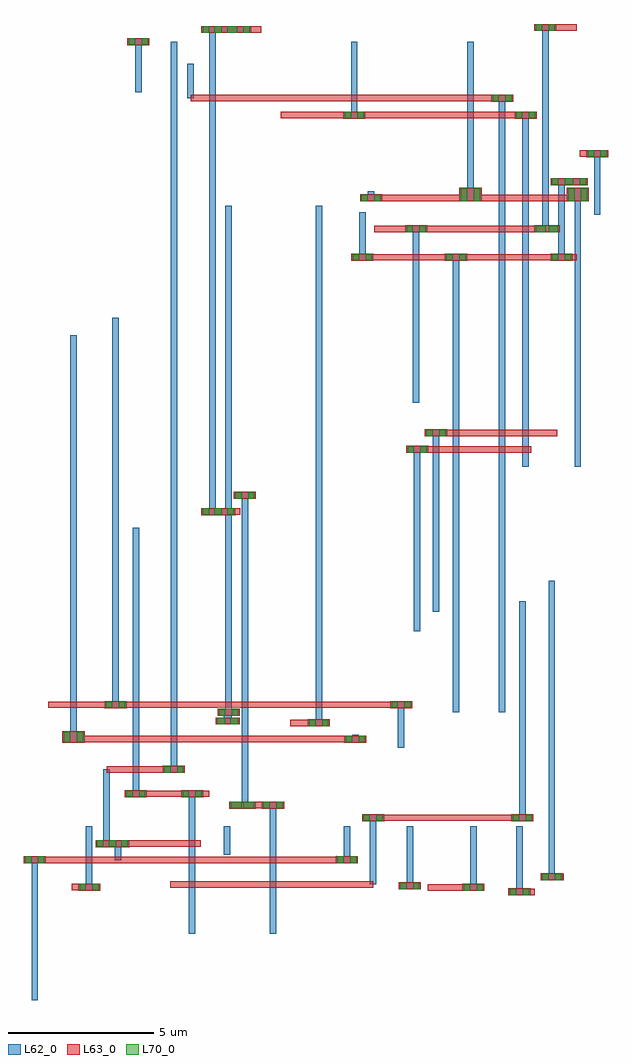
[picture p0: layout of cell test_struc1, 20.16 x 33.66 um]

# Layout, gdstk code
import gdstk
lib = gdstk.Library(unit=1e-6, precision=1e-09)
def R(c, l, rs):  # rectangles x0, y0, x1, y1
    for r in rs: c.add(gdstk.rectangle(r[:2], r[2:], *l))
L62_0 = (62, 0)
L63_0 = (63, 0)
L70_0 = (70, 0)

test_struc1 = lib.new_cell('test_struc1')
R(test_struc1, L62_0, [(17.975,4.925,18.735,5.165), (16.385,5.08,17.145,5.32), (3.135,5.09,3.895,5.33), (14.195,5.13,14.955,5.37), (19.085,5.44,19.845,5.68), (1.26,6.025,2.02,6.265), (12.025,6.025,12.785,6.265), (1.26,6.035,2.02,6.275), (12.025,6.035,12.785,6.275), (3.735,6.585,4.495,6.825), (4.135,6.585,4.895,6.825), (12.925,7.48,13.685,7.72), (18.075,7.48,18.835,7.72), (8.345,7.915,9.105,8.155), (8.505,7.915,9.265,8.155), (9.475,7.915,10.235,8.155), (4.745,8.305,5.505,8.545), (6.685,8.305,7.445,8.545), (6.055,9.145,6.815,9.385), (2.595,10.19,3.355,10.43), (12.315,10.19,13.075,10.43), (2.595,10.34,3.355,10.58), (11.055,10.75,11.815,10.99), (7.885,10.815,8.645,11.055), (7.945,10.815,8.705,11.055), (7.945,11.11,8.705,11.35), (4.045,11.375,4.805,11.615), (13.895,11.375,14.655,11.615), (7.385,18.035,8.145,18.275), (7.785,18.035,8.545,18.275), (8.505,18.595,9.265,18.835), (14.445,20.182,15.205,20.422), (15.095,20.752,15.855,20.992), (12.555,26.805,13.315,27.045), (15.785,26.805,16.545,27.045), (19.425,26.805,20.185,27.045), (14.41,27.785,15.17,28.025), (18.865,27.785,19.625,28.025), (18.985,27.785,19.745,28.025), (12.855,28.855,13.615,29.095), (16.285,28.855,17.045,29.095), (19.985,28.855,20.745,29.095), (16.285,29.075,17.045,29.315), (19.985,29.075,20.745,29.315), (19.425,29.415,20.185,29.655), (19.945,29.415,20.705,29.655), (20.655,30.38,21.415,30.62), (12.275,31.71,13.035,31.95), (18.185,31.71,18.945,31.95), (17.375,32.295,18.135,32.535), (4.835,34.245,5.595,34.485), (7.385,34.66,8.145,34.9), (7.785,34.66,8.545,34.9), (8.345,34.66,9.105,34.9), (18.865,34.73,19.625,34.97)])
R(test_struc1, L63_0, [(17.975,4.925,18.735,5.165), (16.385,5.08,17.145,5.32), (3.135,5.09,3.895,5.33), (14.195,5.13,14.955,5.37), (19.085,5.44,19.845,5.68), (1.26,6.025,2.02,6.265), (12.025,6.025,12.785,6.265), (1.26,6.035,2.02,6.275), (12.025,6.035,12.785,6.275), (3.735,6.585,4.495,6.825), (4.135,6.585,4.895,6.825), (12.925,7.48,13.685,7.72), (18.075,7.48,18.835,7.72), (8.345,7.915,9.105,8.155), (8.505,7.915,9.265,8.155), (9.475,7.915,10.235,8.155), (4.745,8.305,5.505,8.545), (6.685,8.305,7.445,8.545), (6.055,9.145,6.815,9.385), (2.595,10.19,3.355,10.43), (12.315,10.19,13.075,10.43), (2.595,10.34,3.355,10.58), (11.055,10.75,11.815,10.99), (7.885,10.815,8.645,11.055), (7.945,10.815,8.705,11.055), (7.945,11.11,8.705,11.35), (4.045,11.375,4.805,11.615), (13.895,11.375,14.655,11.615), (7.385,18.035,8.145,18.275), (7.785,18.035,8.545,18.275), (8.505,18.595,9.265,18.835), (14.445,20.182,15.205,20.422), (15.095,20.752,15.855,20.992), (12.555,26.805,13.315,27.045), (15.785,26.805,16.545,27.045), (19.425,26.805,20.185,27.045), (14.41,27.785,15.17,28.025), (18.865,27.785,19.625,28.025), (18.985,27.785,19.745,28.025), (12.855,28.855,13.615,29.095), (16.285,28.855,17.045,29.095), (19.985,28.855,20.745,29.095), (16.285,29.075,17.045,29.315), (19.985,29.075,20.745,29.315), (19.425,29.415,20.185,29.655), (19.945,29.415,20.705,29.655), (20.655,30.38,21.415,30.62), (12.275,31.71,13.035,31.95), (18.185,31.71,18.945,31.95), (17.375,32.295,18.135,32.535), (4.835,34.245,5.595,34.485), (7.385,34.66,8.145,34.9), (7.785,34.66,8.545,34.9), (8.345,34.66,9.105,34.9), (18.865,34.73,19.625,34.97)])
R(test_struc1, L70_0, [(18.025,4.935,18.245,5.155), (18.465,4.935,18.685,5.155), (16.435,5.09,16.655,5.31), (16.875,5.09,17.095,5.31), (3.185,5.1,3.405,5.32), (3.625,5.1,3.845,5.32), (14.245,5.14,14.465,5.36), (14.685,5.14,14.905,5.36), (19.135,5.45,19.355,5.67), (19.575,5.45,19.795,5.67), (1.31,6.035,1.53,6.255), (1.75,6.035,1.97,6.255), (12.075,6.035,12.295,6.255), (12.515,6.035,12.735,6.255), (1.31,6.045,1.53,6.265), (1.75,6.045,1.97,6.265), (12.075,6.045,12.295,6.265), (12.515,6.045,12.735,6.265), (3.785,6.595,4.005,6.815), (4.185,6.595,4.405,6.815), (4.225,6.595,4.445,6.815), (4.625,6.595,4.845,6.815), (12.975,7.49,13.195,7.71), (13.415,7.49,13.635,7.71), (18.125,7.49,18.345,7.71), (18.565,7.49,18.785,7.71), (8.395,7.925,8.615,8.145), (8.555,7.925,8.775,8.145), (8.835,7.925,9.055,8.145), (8.995,7.925,9.215,8.145), (9.525,7.925,9.745,8.145), (9.965,7.925,10.185,8.145), (4.795,8.315,5.015,8.535), (5.235,8.315,5.455,8.535), (6.735,8.315,6.955,8.535), (7.175,8.315,7.395,8.535), (6.105,9.155,6.325,9.375), (6.545,9.155,6.765,9.375), (2.645,10.2,2.865,10.42), (3.085,10.2,3.305,10.42), (12.365,10.2,12.585,10.42), (12.805,10.2,13.025,10.42), (2.645,10.35,2.865,10.57), (3.085,10.35,3.305,10.57), (11.105,10.76,11.325,10.98), (11.545,10.76,11.765,10.98), (7.935,10.825,8.155,11.045), (7.995,10.825,8.215,11.045), (8.375,10.825,8.595,11.045), (8.435,10.825,8.655,11.045), (7.995,11.12,8.215,11.34), (8.435,11.12,8.655,11.34), (4.095,11.385,4.315,11.605), (4.535,11.385,4.755,11.605), (13.945,11.385,14.165,11.605), (14.385,11.385,14.605,11.605), (7.435,18.045,7.655,18.265), (7.835,18.045,8.055,18.265), (7.875,18.045,8.095,18.265), (8.275,18.045,8.495,18.265), (8.555,18.605,8.775,18.825), (8.995,18.605,9.215,18.825), (14.495,20.192,14.715,20.412), (14.935,20.192,15.155,20.412), (15.145,20.762,15.365,20.982), (15.585,20.762,15.805,20.982), (12.605,26.815,12.825,27.035), (13.045,26.815,13.265,27.035), (15.835,26.815,16.055,27.035), (16.275,26.815,16.495,27.035), (19.475,26.815,19.695,27.035), (19.915,26.815,20.135,27.035), (14.46,27.795,14.68,28.015), (14.9,27.795,15.12,28.015), (18.915,27.795,19.135,28.015), (19.035,27.795,19.255,28.015), (19.355,27.795,19.575,28.015), (19.475,27.795,19.695,28.015), (12.905,28.865,13.125,29.085), (13.345,28.865,13.565,29.085), (16.335,28.865,16.555,29.085), (16.775,28.865,16.995,29.085), (20.035,28.865,20.255,29.085), (20.475,28.865,20.695,29.085), (16.335,29.085,16.555,29.305), (16.775,29.085,16.995,29.305), (20.035,29.085,20.255,29.305), (20.475,29.085,20.695,29.305), (19.475,29.425,19.695,29.645), (19.915,29.425,20.135,29.645), (19.995,29.425,20.215,29.645), (20.435,29.425,20.655,29.645), (20.705,30.39,20.925,30.61), (21.145,30.39,21.365,30.61), (12.325,31.72,12.545,31.94), (12.765,31.72,12.985,31.94), (18.235,31.72,18.455,31.94), (18.675,31.72,18.895,31.94), (17.425,32.305,17.645,32.525), (17.865,32.305,18.085,32.525), (4.885,34.255,5.105,34.475), (5.325,34.255,5.545,34.475), (7.435,34.67,7.655,34.89), (7.835,34.67,8.055,34.89), (7.875,34.67,8.095,34.89), (8.275,34.67,8.495,34.89), (8.395,34.67,8.615,34.89), (8.835,34.67,9.055,34.89), (18.915,34.74,19.135,34.96), (19.355,34.74,19.575,34.96)])
test_struc1.add(gdstk.FlexPath([(19.365,27.905),(14.79,27.905)], 0.22, ends="flush", simple_path=True, layer=63, datatype=0))  # L63_0
test_struc1.add(gdstk.FlexPath([(14.79,21.91),(14.79,22.47)], 0.22, ends="flush", simple_path=True, layer=62, datatype=0))  # L62_0
test_struc1.add(gdstk.FlexPath([(14.79,23.68),(14.79,27.905)], 0.22, ends="flush", simple_path=True, layer=62, datatype=0))  # L62_0
test_struc1.add(gdstk.FlexPath([(19.365,34.85),(19.245,34.85)], 0.22, ends="flush", simple_path=True, layer=63, datatype=0))  # L63_0
test_struc1.add(gdstk.FlexPath([(19.245,27.905),(19.365,27.905)], 0.22, ends="flush", simple_path=True, layer=63, datatype=0))  # L63_0
test_struc1.add(gdstk.FlexPath([(20.325,34.85),(19.365,34.85)], 0.22, ends="flush", simple_path=True, layer=63, datatype=0))  # L63_0
test_struc1.add(gdstk.FlexPath([(19.245,34.85),(19.245,27.905)], 0.22, ends="flush", simple_path=True, layer=62, datatype=0))  # L62_0
test_struc1.add(gdstk.FlexPath([(14.79,22.47),(14.79,23.68)], 0.22, ends="flush", simple_path=True, layer=62, datatype=0))  # L62_0
test_struc1.add(gdstk.FlexPath([(13.345,27.905),(14.79,27.905)], 0.22, ends="flush", simple_path=True, layer=63, datatype=0))  # L63_0
test_struc1.add(gdstk.FlexPath([(7.665,8.425),(7.065,8.425)], 0.22, ends="flush", simple_path=True, layer=63, datatype=0))  # L63_0
test_struc1.add(gdstk.FlexPath([(7.065,3.595),(7.065,8.425)], 0.22, ends="flush", simple_path=True, layer=62, datatype=0))  # L62_0
test_struc1.add(gdstk.FlexPath([(5.125,17.595),(5.125,8.425)], 0.22, ends="flush", simple_path=True, layer=62, datatype=0))  # L62_0
test_struc1.add(gdstk.FlexPath([(5.125,8.425),(7.065,8.425)], 0.22, ends="flush", simple_path=True, layer=63, datatype=0))  # L63_0
test_struc1.add(gdstk.FlexPath([(8.885,18.715),(8.885,8.035)], 0.22, ends="flush", simple_path=True, layer=62, datatype=0))  # L62_0
test_struc1.add(gdstk.FlexPath([(9.855,3.595),(9.855,8.035)], 0.22, ends="flush", simple_path=True, layer=62, datatype=0))  # L62_0
test_struc1.add(gdstk.FlexPath([(8.885,8.035),(8.725,8.035)], 0.22, ends="flush", simple_path=True, layer=63, datatype=0))  # L63_0
test_struc1.add(gdstk.FlexPath([(9.885,8.035),(9.855,8.035)], 0.22, ends="flush", simple_path=True, layer=63, datatype=0))  # L63_0
test_struc1.add(gdstk.FlexPath([(8.725,18.715),(8.885,18.715)], 0.22, ends="flush", simple_path=True, layer=63, datatype=0))  # L63_0
test_struc1.add(gdstk.FlexPath([(8.725,8.035),(9.855,8.035)], 0.22, ends="flush", simple_path=True, layer=63, datatype=0))  # L63_0
test_struc1.add(gdstk.FlexPath([(15.475,14.695),(15.475,20.872)], 0.22, ends="flush", simple_path=True, layer=62, datatype=0))  # L62_0
test_struc1.add(gdstk.FlexPath([(15.475,20.872),(19.665,20.872)], 0.22, ends="flush", simple_path=True, layer=63, datatype=0))  # L63_0
test_struc1.add(gdstk.FlexPath([(14.825,14.025),(14.825,20.302)], 0.22, ends="flush", simple_path=True, layer=62, datatype=0))  # L62_0
test_struc1.add(gdstk.FlexPath([(14.825,20.302),(18.765,20.302)], 0.22, ends="flush", simple_path=True, layer=63, datatype=0))  # L63_0
test_struc1.add(gdstk.FlexPath([(7.765,34.78),(8.165,34.78)], 0.22, ends="flush", simple_path=True, layer=63, datatype=0))  # L63_0
test_struc1.add(gdstk.FlexPath([(7.765,18.155),(7.765,34.78)], 0.22, ends="flush", simple_path=True, layer=62, datatype=0))  # L62_0
test_struc1.add(gdstk.FlexPath([(8.165,18.155),(7.765,18.155)], 0.22, ends="flush", simple_path=True, layer=63, datatype=0))  # L63_0
test_struc1.add(gdstk.FlexPath([(8.165,34.78),(8.725,34.78)], 0.22, ends="flush", simple_path=True, layer=63, datatype=0))  # L63_0
test_struc1.add(gdstk.FlexPath([(8.725,18.155),(8.165,18.155)], 0.22, ends="flush", simple_path=True, layer=63, datatype=0))  # L63_0
test_struc1.add(gdstk.FlexPath([(8.725,34.78),(9.445,34.78)], 0.22, ends="flush", simple_path=True, layer=63, datatype=0))  # L63_0
test_struc1.add(gdstk.FlexPath([(12.985,7.6),(13.305,7.6)], 0.22, ends="flush", simple_path=True, layer=63, datatype=0))  # L63_0
test_struc1.add(gdstk.FlexPath([(18.455,15.062),(18.455,14.502)], 0.22, ends="flush", simple_path=True, layer=62, datatype=0))  # L62_0
test_struc1.add(gdstk.FlexPath([(6.315,5.3),(7.965,5.3)], 0.22, ends="flush", simple_path=True, layer=63, datatype=0))  # L63_0
test_struc1.add(gdstk.FlexPath([(18.455,14.502),(18.455,12.505)], 0.22, ends="flush", simple_path=True, layer=62, datatype=0))  # L62_0
test_struc1.add(gdstk.FlexPath([(13.305,5.3),(13.305,7.6)], 0.22, ends="flush", simple_path=True, layer=62, datatype=0))  # L62_0
test_struc1.add(gdstk.FlexPath([(13.305,5.3),(7.965,5.3)], 0.22, ends="flush", simple_path=True, layer=63, datatype=0))  # L63_0
test_struc1.add(gdstk.FlexPath([(18.455,12.505),(18.455,7.6)], 0.22, ends="flush", simple_path=True, layer=62, datatype=0))  # L62_0
test_struc1.add(gdstk.FlexPath([(18.455,7.6),(13.305,7.6)], 0.22, ends="flush", simple_path=True, layer=63, datatype=0))  # L63_0
test_struc1.add(gdstk.FlexPath([(10.125,31.83),(12.655,31.83)], 0.22, ends="flush", simple_path=True, layer=63, datatype=0))  # L63_0
test_struc1.add(gdstk.FlexPath([(12.655,34.365),(12.655,31.83)], 0.22, ends="flush", simple_path=True, layer=62, datatype=0))  # L62_0
test_struc1.add(gdstk.FlexPath([(18.565,19.707),(18.565,31.83)], 0.22, ends="flush", simple_path=True, layer=62, datatype=0))  # L62_0
test_struc1.add(gdstk.FlexPath([(18.565,31.83),(12.655,31.83)], 0.22, ends="flush", simple_path=True, layer=63, datatype=0))  # L63_0
test_struc1.add(gdstk.FlexPath([(13.235,28.975),(16.665,28.975)], 0.22, ends="flush", simple_path=True, layer=63, datatype=0))  # L63_0
test_struc1.add(gdstk.FlexPath([(20.365,28.975),(16.665,28.975)], 0.22, ends="flush", simple_path=True, layer=63, datatype=0))  # L63_0
test_struc1.add(gdstk.FlexPath([(13.235,29.195),(13.235,28.975)], 0.22, ends="flush", simple_path=True, layer=62, datatype=0))  # L62_0
test_struc1.add(gdstk.FlexPath([(20.365,29.195),(20.365,28.975)], 0.22, ends="flush", simple_path=True, layer=62, datatype=0))  # L62_0
test_struc1.add(gdstk.FlexPath([(16.665,34.365),(16.665,29.195)], 0.22, ends="flush", simple_path=True, layer=62, datatype=0))  # L62_0
test_struc1.add(gdstk.FlexPath([(16.665,28.975),(16.665,29.195)], 0.22, ends="flush", simple_path=True, layer=62, datatype=0))  # L62_0
test_struc1.add(gdstk.FlexPath([(20.365,19.707),(20.365,29.195)], 0.22, ends="flush", simple_path=True, layer=62, datatype=0))  # L62_0
test_struc1.add(gdstk.FlexPath([(19.465,15.777),(19.465,5.56)], 0.22, ends="flush", simple_path=True, layer=62, datatype=0))  # L62_0
test_struc1.add(gdstk.FlexPath([(19.465,5.56),(19.875,5.56)], 0.22, ends="flush", simple_path=True, layer=63, datatype=0))  # L63_0
test_struc1.add(gdstk.FlexPath([(12.695,10.31),(12.695,10.46)], 0.22, ends="flush", simple_path=True, layer=62, datatype=0))  # L62_0
test_struc1.add(gdstk.FlexPath([(2.975,10.46),(2.975,10.31)], 0.22, ends="flush", simple_path=True, layer=62, datatype=0))  # L62_0
test_struc1.add(gdstk.FlexPath([(2.975,10.31),(12.695,10.31)], 0.22, ends="flush", simple_path=True, layer=63, datatype=0))  # L63_0
test_struc1.add(gdstk.FlexPath([(2.975,24.24),(2.975,10.46)], 0.22, ends="flush", simple_path=True, layer=62, datatype=0))  # L62_0
test_struc1.add(gdstk.FlexPath([(2.105,11.495),(4.425,11.495)], 0.22, ends="flush", simple_path=True, layer=63, datatype=0))  # L63_0
test_struc1.add(gdstk.FlexPath([(14.275,10.02),(14.275,11.495)], 0.22, ends="flush", simple_path=True, layer=62, datatype=0))  # L62_0
test_struc1.add(gdstk.FlexPath([(14.275,11.495),(4.425,11.495)], 0.22, ends="flush", simple_path=True, layer=63, datatype=0))  # L63_0
test_struc1.add(gdstk.FlexPath([(4.425,24.835),(4.425,11.495)], 0.22, ends="flush", simple_path=True, layer=62, datatype=0))  # L62_0
test_struc1.add(gdstk.FlexPath([(1.64,6.155),(1.64,6.145)], 0.22, ends="flush", simple_path=True, layer=62, datatype=0))  # L62_0
test_struc1.add(gdstk.FlexPath([(12.405,6.145),(12.405,6.155)], 0.22, ends="flush", simple_path=True, layer=62, datatype=0))  # L62_0
test_struc1.add(gdstk.FlexPath([(1.64,6.145),(12.405,6.145)], 0.22, ends="flush", simple_path=True, layer=63, datatype=0))  # L63_0
test_struc1.add(gdstk.FlexPath([(12.605,6.155),(12.405,6.155)], 0.22, ends="flush", simple_path=True, layer=63, datatype=0))  # L63_0
test_struc1.add(gdstk.FlexPath([(1.64,1.315),(1.64,6.155)], 0.22, ends="flush", simple_path=True, layer=62, datatype=0))  # L62_0
test_struc1.add(gdstk.FlexPath([(12.405,7.3),(12.405,6.155)], 0.22, ends="flush", simple_path=True, layer=62, datatype=0))  # L62_0
test_struc1.add(gdstk.FlexPath([(14.575,7.3),(14.575,5.25)], 0.22, ends="flush", simple_path=True, layer=62, datatype=0))  # L62_0
test_struc1.add(gdstk.FlexPath([(14.575,5.25),(14.205,5.25)], 0.22, ends="flush", simple_path=True, layer=63, datatype=0))  # L63_0
test_struc1.add(gdstk.FlexPath([(20.325,26.925),(16.165,26.925)], 0.22, ends="flush", simple_path=True, layer=63, datatype=0))  # L63_0
test_struc1.add(gdstk.FlexPath([(12.935,26.925),(16.165,26.925)], 0.22, ends="flush", simple_path=True, layer=63, datatype=0))  # L63_0
test_struc1.add(gdstk.FlexPath([(20.325,26.925),(19.805,26.925)], 0.22, ends="flush", simple_path=True, layer=63, datatype=0))  # L63_0
test_struc1.add(gdstk.FlexPath([(20.325,29.535),(20.635,29.535)], 0.22, ends="flush", simple_path=True, layer=63, datatype=0))  # L63_0
test_struc1.add(gdstk.FlexPath([(19.805,26.925),(19.805,29.535)], 0.22, ends="flush", simple_path=True, layer=62, datatype=0))  # L62_0
test_struc1.add(gdstk.FlexPath([(16.165,11.23),(16.165,26.925)], 0.22, ends="flush", simple_path=True, layer=62, datatype=0))  # L62_0
test_struc1.add(gdstk.FlexPath([(19.805,29.535),(20.325,29.535)], 0.22, ends="flush", simple_path=True, layer=63, datatype=0))  # L63_0
test_struc1.add(gdstk.FlexPath([(12.935,28.475),(12.935,26.925)], 0.22, ends="flush", simple_path=True, layer=62, datatype=0))  # L62_0
test_struc1.add(gdstk.FlexPath([(16.765,7.3),(16.765,5.2)], 0.22, ends="flush", simple_path=True, layer=62, datatype=0))  # L62_0
test_struc1.add(gdstk.FlexPath([(16.765,5.2),(15.195,5.2)], 0.22, ends="flush", simple_path=True, layer=63, datatype=0))  # L63_0
test_struc1.add(gdstk.FlexPath([(7.015,32.415),(7.015,33.595)], 0.22, ends="flush", simple_path=True, layer=62, datatype=0))  # L62_0
test_struc1.add(gdstk.FlexPath([(17.755,11.23),(17.755,32.415)], 0.22, ends="flush", simple_path=True, layer=62, datatype=0))  # L62_0
test_struc1.add(gdstk.FlexPath([(17.755,32.415),(7.015,32.415)], 0.22, ends="flush", simple_path=True, layer=63, datatype=0))  # L63_0
test_struc1.add(gdstk.FlexPath([(18.355,7.3),(18.355,5.045)], 0.22, ends="flush", simple_path=True, layer=62, datatype=0))  # L62_0
test_struc1.add(gdstk.FlexPath([(18.355,5.045),(18.885,5.045)], 0.22, ends="flush", simple_path=True, layer=63, datatype=0))  # L63_0
test_struc1.add(gdstk.FlexPath([(21.035,28.39),(21.035,30.5)], 0.22, ends="flush", simple_path=True, layer=62, datatype=0))  # L62_0
test_struc1.add(gdstk.FlexPath([(21.035,30.5),(20.435,30.5)], 0.22, ends="flush", simple_path=True, layer=63, datatype=0))  # L63_0
test_struc1.add(gdstk.FlexPath([(5.215,32.625),(5.215,34.365)], 0.22, ends="flush", simple_path=True, layer=62, datatype=0))  # L62_0
test_struc1.add(gdstk.FlexPath([(5.215,34.365),(5.125,34.365)], 0.22, ends="flush", simple_path=True, layer=63, datatype=0))  # L63_0
test_struc1.add(gdstk.FlexPath([(3.815,6.705),(4.115,6.705)], 0.22, ends="flush", simple_path=True, layer=63, datatype=0))  # L63_0
test_struc1.add(gdstk.FlexPath([(4.515,6.705),(4.115,6.705)], 0.22, ends="flush", simple_path=True, layer=63, datatype=0))  # L63_0
test_struc1.add(gdstk.FlexPath([(4.515,6.13),(4.515,6.705)], 0.22, ends="flush", simple_path=True, layer=62, datatype=0))  # L62_0
test_struc1.add(gdstk.FlexPath([(4.115,9.265),(4.115,6.705)], 0.22, ends="flush", simple_path=True, layer=62, datatype=0))  # L62_0
test_struc1.add(gdstk.FlexPath([(7.365,6.705),(4.515,6.705)], 0.22, ends="flush", simple_path=True, layer=63, datatype=0))  # L63_0
test_struc1.add(gdstk.FlexPath([(6.435,34.365),(6.435,9.265)], 0.22, ends="flush", simple_path=True, layer=62, datatype=0))  # L62_0
test_struc1.add(gdstk.FlexPath([(6.435,9.265),(4.115,9.265)], 0.22, ends="flush", simple_path=True, layer=63, datatype=0))  # L63_0
test_struc1.add(gdstk.FlexPath([(8.325,11.23),(8.325,10.935)], 0.22, ends="flush", simple_path=True, layer=62, datatype=0))  # L62_0
test_struc1.add(gdstk.FlexPath([(8.325,28.695),(8.325,11.23)], 0.22, ends="flush", simple_path=True, layer=62, datatype=0))  # L62_0
test_struc1.add(gdstk.FlexPath([(8.325,10.935),(8.265,10.935)], 0.22, ends="flush", simple_path=True, layer=63, datatype=0))  # L63_0
test_struc1.add(gdstk.FlexPath([(8.265,10.935),(8.265,11.23)], 0.22, ends="flush", simple_path=True, layer=62, datatype=0))  # L62_0
test_struc1.add(gdstk.FlexPath([(11.435,28.695),(11.435,10.87)], 0.22, ends="flush", simple_path=True, layer=62, datatype=0))  # L62_0
test_struc1.add(gdstk.FlexPath([(11.435,10.87),(10.455,10.87)], 0.22, ends="flush", simple_path=True, layer=63, datatype=0))  # L63_0
test_struc1.add(gdstk.FlexPath([(3.515,7.3),(3.515,5.21)], 0.22, ends="flush", simple_path=True, layer=62, datatype=0))  # L62_0
test_struc1.add(gdstk.FlexPath([(3.515,5.21),(2.915,5.21)], 0.22, ends="flush", simple_path=True, layer=63, datatype=0))  # L63_0
test_struc1.add(gdstk.FlexPath([(8.265,6.33),(8.265,7.3)], 0.22, ends="flush", simple_path=True, layer=62, datatype=0))  # L62_0

lib.write_gds('test_struc1.gds')
